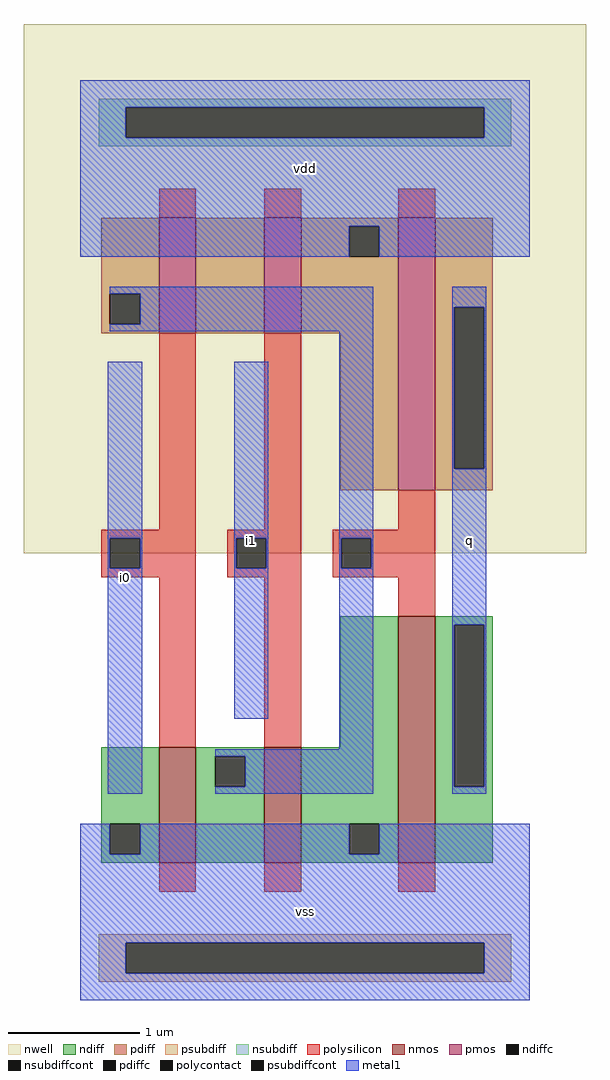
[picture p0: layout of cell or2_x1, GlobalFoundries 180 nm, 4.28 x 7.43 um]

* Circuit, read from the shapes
.subckt or2_x1 vss vdd i0 i1 q
XM1 n1 i0 vss vss nfet_03v3 w=0.88u l=0.28u
XM2 vss i1 n1 vss nfet_03v3 w=0.88u l=0.28u
XM3 q n1 vss vss nfet_03v3 w=1.875u l=0.28u
XM4 n2 i0 n1 vdd pfet_03v3 w=0.88u l=0.28u
XM5 vdd i1 n2 vdd pfet_03v3 w=0.88u l=0.28u
XM6 q n1 vdd vdd pfet_03v3 w=2.075u l=0.28u
.ends

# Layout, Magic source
magic
tech gf180mcuD
magscale 1 10
<< nwell >>
rect -86 680 770 1486
<< nmos >>
rect 120 209 176 385
rect 280 209 336 385
rect 484 209 540 584
<< pmos >>
rect 120 1015 176 1191
rect 280 1015 336 1191
rect 484 776 540 1191
<< ndiff >>
rect 396 385 484 584
rect 32 268 120 385
rect 32 222 45 268
rect 91 222 120 268
rect 32 209 120 222
rect 176 371 280 385
rect 176 325 205 371
rect 251 325 280 371
rect 176 209 280 325
rect 336 268 484 385
rect 336 222 409 268
rect 455 222 484 268
rect 336 209 484 222
rect 540 571 628 584
rect 540 325 569 571
rect 615 325 628 571
rect 540 209 628 325
<< pdiff >>
rect 32 1075 120 1191
rect 32 1029 45 1075
rect 91 1029 120 1075
rect 32 1015 120 1029
rect 176 1015 280 1191
rect 336 1178 484 1191
rect 336 1132 409 1178
rect 455 1132 484 1178
rect 336 1015 484 1132
rect 396 776 484 1015
rect 540 1055 628 1191
rect 540 809 569 1055
rect 615 809 628 1055
rect 540 776 628 809
<< ndiffc >>
rect 45 222 91 268
rect 205 325 251 371
rect 409 222 455 268
rect 569 325 615 571
<< pdiffc >>
rect 45 1029 91 1075
rect 409 1132 455 1178
rect 569 809 615 1055
<< psubdiff >>
rect 28 87 656 100
rect 28 41 69 87
rect 615 41 656 87
rect 28 28 656 41
<< nsubdiff >>
rect 28 1359 656 1372
rect 28 1313 69 1359
rect 615 1313 656 1359
rect 28 1300 656 1313
<< psubdiffcont >>
rect 69 41 615 87
<< nsubdiffcont >>
rect 69 1313 615 1359
<< polysilicon >>
rect 120 1191 176 1235
rect 280 1191 336 1235
rect 484 1191 540 1235
rect 120 716 176 1015
rect 280 716 336 1015
rect 484 716 540 776
rect 32 703 176 716
rect 32 657 45 703
rect 91 657 176 703
rect 32 644 176 657
rect 224 703 336 716
rect 224 657 237 703
rect 283 657 336 703
rect 224 644 336 657
rect 384 703 540 716
rect 384 657 397 703
rect 443 657 540 703
rect 384 644 540 657
rect 120 385 176 644
rect 280 385 336 644
rect 484 584 540 644
rect 120 165 176 209
rect 280 165 336 209
rect 484 165 540 209
<< polycontact >>
rect 45 657 91 703
rect 237 657 283 703
rect 397 657 443 703
<< metal1 >>
rect 0 1359 684 1400
rect 0 1313 69 1359
rect 615 1313 684 1359
rect 0 1178 684 1313
rect 0 1132 409 1178
rect 455 1132 684 1178
rect 45 1075 446 1086
rect 91 1029 446 1075
rect 45 1018 446 1029
rect 42 703 94 972
rect 42 657 45 703
rect 91 657 94 703
rect 42 314 94 657
rect 234 703 286 972
rect 234 657 237 703
rect 283 657 286 703
rect 234 428 286 657
rect 394 703 446 1018
rect 394 657 397 703
rect 443 657 446 703
rect 394 382 446 657
rect 205 371 446 382
rect 251 325 446 371
rect 205 314 446 325
rect 566 1055 618 1086
rect 566 809 569 1055
rect 615 809 618 1055
rect 566 571 618 809
rect 566 325 569 571
rect 615 325 618 571
rect 566 314 618 325
rect 0 222 45 268
rect 91 222 409 268
rect 455 222 684 268
rect 0 87 684 222
rect 0 41 69 87
rect 615 41 684 87
rect 0 0 684 41
<< labels >>
rlabel metal1 s 0 0 684 268 4 vss
port 3 nsew
rlabel metal1 s 0 1132 684 1400 4 vdd
port 5 nsew
rlabel metal1 s 42 314 94 972 4 i0
port 7 nsew
rlabel metal1 s 234 428 286 972 4 i1
port 9 nsew
rlabel metal1 s 566 314 618 1086 4 q
port 11 nsew
<< end >>
